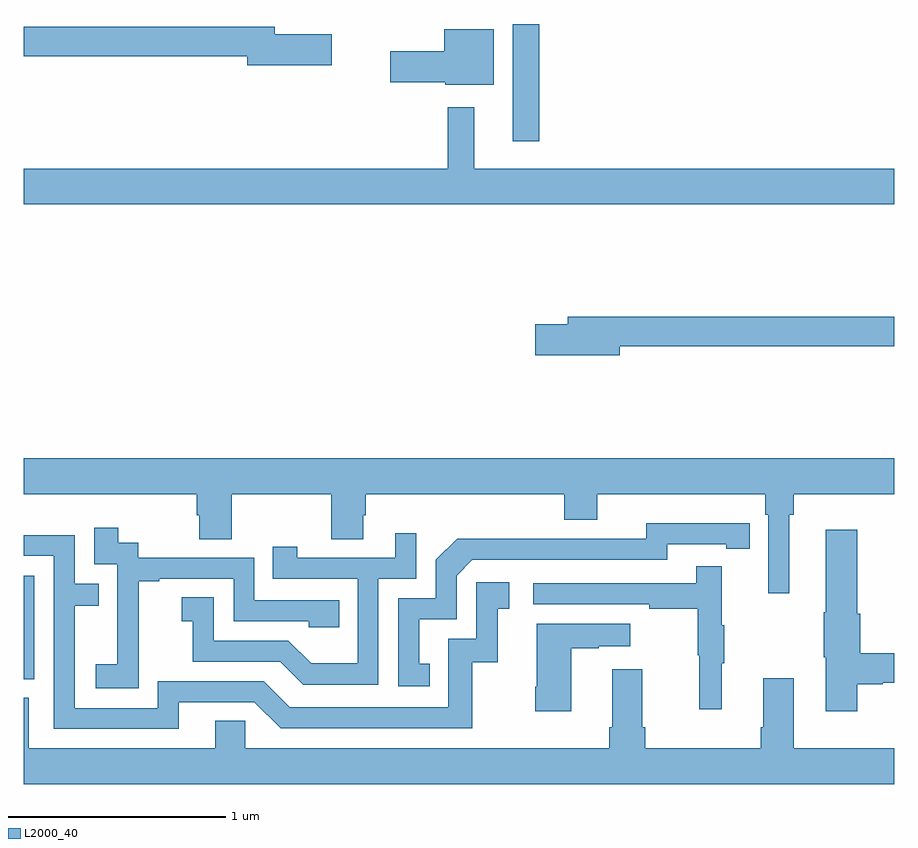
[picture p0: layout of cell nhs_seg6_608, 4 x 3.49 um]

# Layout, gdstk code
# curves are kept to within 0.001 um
import gdstk
lib = gdstk.Library(unit=1e-6, precision=1e-09)
def R(c, l, rs):  # rectangles x0, y0, x1, y1
    for r in rs: c.add(gdstk.rectangle(r[:2], r[2:], *l))
def P(c, l, *ps):  # polygons
    for p in ps: c.add(gdstk.Polygon(p, *l))
L2000_40 = (2000, 40)

nhs_seg6_608 = lib.new_cell('nhs_seg6_608')
R(nhs_seg6_608, L2000_40, [(149,942.489,149.049,942.966), (151.247,944.961,151.369,945.5)])
P(nhs_seg6_608, L2000_40, [(150.415,945.452),(150.154,945.452),(150.154,945.488),(149,945.488),(149,945.352),(150.026,945.352),(150.026,945.31),(150.415,945.31)],
  [(151.159,945.475),(150.932,945.475),(150.932,945.374),(150.684,945.374),(150.684,945.232),(150.936,945.232),(150.936,945.221),(151.159,945.221)],
  [(153,944.836),(151.069,944.836),(151.069,945.118),(150.948,945.118),(150.948,944.836),(149,944.836),(149,944.672),(153,944.672)],
  [(151.738,944.02),(153,944.02),(153,944.156),(151.499,944.156),(151.499,944.12),(151.35,944.12),(151.35,943.978),(151.738,943.978)],
  [(152.518,943.244),(152.537,943.244),(152.537,943.34),(153,943.34),(153,943.504),(149,943.504),(149,943.34),(149.795,943.34),(149.795,943.242),(149.807,943.242),(149.807,943.132),(149.955,943.132),(149.955,943.34),(150.412,943.34),(150.412,943.132),(150.559,943.132),(150.559,943.242),(150.572,943.242),(150.572,943.34),(151.484,943.34),(151.484,943.223),(151.636,943.223),(151.636,943.34),(152.408,943.34),(152.408,943.244),(152.421,943.244),(152.421,942.885),(152.518,942.885)],
  [(150.866,942.561),(150.817,942.561),(150.817,942.765),(150.99,942.765),(150.99,942.966),(151.062,943.038),(151.956,943.038),(151.956,943.11),(152.228,943.11),(152.228,943.09),(152.336,943.09),(152.336,943.206),(151.86,943.207),(151.86,943.134),(151.4,943.134),(151.4,943.136),(150.992,943.136),(150.894,943.038),(150.894,942.861),(150.72,942.861),(150.72,942.456),(150.866,942.456)],
  [(149.529,942.655),(149.528,942.655),(149.528,942.939),(149.623,942.939),(149.623,942.951),(149.964,942.951),(149.964,942.756),(150.309,942.756),(150.309,942.729),(150.449,942.729),(150.449,942.852),(150.06,942.852),(150.06,943.047),(149.526,943.047),(149.526,943.116),(149.434,943.116),(149.434,943.186),(149.325,943.186),(149.325,943.017),(149.43,943.017),(149.43,942.788),(149.429,942.788),(149.429,942.559),(149.331,942.559),(149.331,942.449),(149.529,942.449)],
  [(152.83,942.466),(152.946,942.466),(152.946,942.473),(153,942.473),(153,942.608),(152.843,942.608),(152.843,942.791),(152.83,942.791),(152.83,943.177),(152.684,943.177),(152.684,942.797),(152.677,942.797),(152.677,942.591),(152.684,942.591),(152.684,942.342),(152.83,942.342)],
  [(150.63,942.951),(150.804,942.951),(150.804,943.159),(150.707,943.159),(150.707,943.047),(150.256,943.047),(150.256,943.099),(150.145,943.099),(150.145,942.951),(150.534,942.951),(150.534,942.562),(150.32,942.562),(150.216,942.666),(149.874,942.666),(149.874,942.865),(149.727,942.865),(149.727,942.755),(149.776,942.755),(149.776,942.57),(150.179,942.57),(150.284,942.465),(150.63,942.465)],
  [(149.713,942.384),(150.06,942.384),(150.18,942.264),(151.06,942.264),(151.06,942.567),(151.178,942.567),(151.178,942.813),(151.231,942.813),(151.231,942.934),(151.08,942.934),(151.08,942.675),(150.951,942.675),(150.951,942.36),(150.222,942.36),(150.102,942.48),(149.616,942.48),(149.616,942.357),(149.235,942.357),(149.235,942.826),(149.345,942.826),(149.345,942.927),(149.235,942.927),(149.235,943.152),(149,943.152),(149,943.056),(149.139,943.056),(149.139,942.261),(149.713,942.261)],
  [(152.207,942.563),(152.218,942.563),(152.218,942.737),(152.207,942.737),(152.207,943.009),(152.089,943.009),(152.089,942.93),(151.341,942.93),(151.341,942.834),(151.873,942.834),(151.873,942.814),(152.097,942.814),(152.097,942.6),(152.104,942.6),(152.104,942.351),(152.207,942.351)],
  [(151.516,942.631),(151.643,942.631),(151.643,942.641),(151.786,942.641),(151.786,942.745),(151.358,942.745),(151.358,942.454),(151.351,942.454),(151.351,942.342),(151.516,942.342)],
  [(153,942.172),(152.539,942.172),(152.539,942.493),(152.399,942.493),(152.399,942.268),(152.387,942.268),(152.387,942.172),(151.856,942.172),(151.856,942.268),(151.843,942.268),(151.843,942.535),(151.703,942.535),(151.703,942.268),(151.691,942.268),(151.691,942.172),(150.018,942.172),(150.018,942.299),(149.879,942.299),(149.879,942.172),(149.023,942.172),(149.023,942.404),(149,942.404),(149,942.008),(153,942.008)])

lib.write_gds('nhs_seg6_608.gds')
